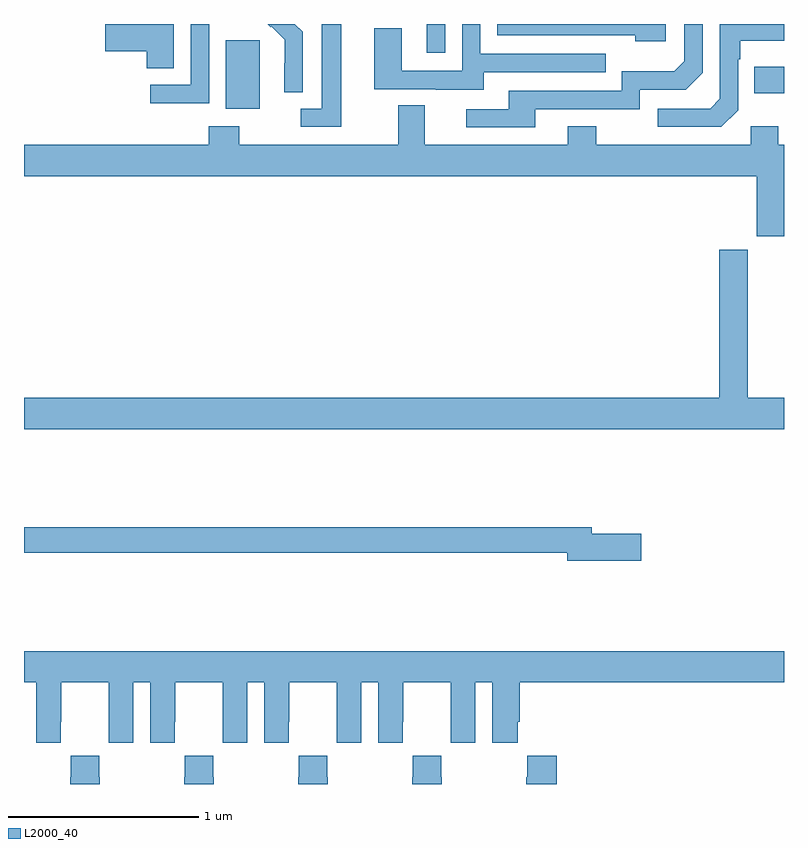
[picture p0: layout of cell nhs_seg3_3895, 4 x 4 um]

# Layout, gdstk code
import gdstk
lib = gdstk.Library(unit=1e-6, precision=1e-09)
def R(c, l, rs):  # rectangles x0, y0, x1, y1
    for r in rs: c.add(gdstk.rectangle(r[:2], r[2:], *l))
def P(c, l, *ps):  # polygons
    for p in ps: c.add(gdstk.Polygon(p, *l))
L2000_40 = (2000, 40)

nhs_seg3_3895 = lib.new_cell('nhs_seg3_3895')
R(nhs_seg3_3895, L2000_40, [(314.063,683.954,314.242,684.315), (316.843,684.035,317,684.175), (315.119,684.249,315.216,684.4)])
P(nhs_seg3_3895, L2000_40, [(313.974,684.4),(313.878,684.4),(313.878,684.081),(313.665,684.081),(313.665,683.983),(313.974,683.983)],
  [(315.421,684.147),(316.061,684.147),(316.061,684.243),(315.402,684.243),(315.402,684.4),(315.306,684.4),(315.306,684.153),(314.988,684.153),(314.988,684.377),(314.843,684.377),(314.843,684.057),(315.167,684.057),(315.167,684.053),(315.421,684.053)],
  [(314.671,684.4),(314.567,684.4),(314.567,683.955),(314.457,683.955),(314.457,683.859),(314.671,683.859)],
  [(315.691,683.952),(316.242,683.952),(316.242,684.054),(316.482,684.054),(316.572,684.144),(316.572,684.4),(316.476,684.4),(316.476,684.204),(316.423,684.151),(316.146,684.151),(316.146,684.048),(315.551,684.048),(315.551,683.952),(315.327,683.952),(315.327,683.856),(315.691,683.856)],
  [(313.789,684.4),(313.428,684.4),(313.428,684.257),(313.646,684.257),(313.646,684.166),(313.789,684.166)],
  [(316.758,683.946),(316.758,684.215),(316.771,684.215),(316.771,684.311),(317,684.311),(317,684.4),(316.662,684.4),(316.662,684.006),(316.611,683.955),(316.335,683.955),(316.335,683.859),(316.671,683.859)],
  [(314.466,684.358),(314.424,684.4),(314.282,684.4),(314.298,684.384),(314.301,684.387),(314.372,684.317),(314.372,684.194),(314.37,684.194),(314.37,684.04),(314.466,684.04)],
  [(316.378,684.4),(315.492,684.4),(315.492,684.342),(316.217,684.342),(316.217,684.308),(316.378,684.308)],
  [(317,683.764),(316.971,683.764),(316.971,683.863),(316.824,683.863),(316.824,683.764),(316.011,683.764),(316.011,683.863),(315.863,683.863),(315.863,683.764),(315.109,683.764),(315.109,683.972),(314.969,683.972),(314.969,683.764),(314.133,683.764),(314.133,683.863),(313.973,683.863),(313.973,683.764),(313,683.764),(313,683.6),(316.856,683.6),(316.856,683.283),(317,683.283)],
  [(317,682.432),(316.81,682.432),(316.81,683.211),(316.658,683.211),(316.658,682.432),(313,682.432),(313,682.268),(317,682.268)],
  [(316.249,681.716),(315.988,681.716),(315.988,681.752),(313,681.752),(313,681.616),(315.86,681.616),(315.86,681.574),(316.249,681.574)],
  [(313.194,680.728),(313.195,680.728),(313.195,680.936),(313.445,680.936),(313.445,680.728),(313.446,680.728),(313.446,680.616),(313.576,680.616),(313.576,680.936),(313.664,680.936),(313.664,680.616),(313.794,680.616),(313.794,680.728),(313.795,680.728),(313.795,680.936),(314.045,680.936),(314.045,680.728),(314.046,680.728),(314.046,680.616),(314.176,680.616),(314.176,680.936),(314.264,680.936),(314.264,680.616),(314.394,680.616),(314.394,680.728),(314.395,680.728),(314.395,680.936),(314.645,680.936),(314.645,680.728),(314.646,680.728),(314.646,680.616),(314.776,680.616),(314.776,680.936),(314.864,680.936),(314.864,680.616),(314.994,680.616),(314.994,680.728),(314.995,680.728),(314.995,680.936),(315.245,680.936),(315.245,680.728),(315.246,680.728),(315.246,680.616),(315.376,680.616),(315.376,680.936),(315.464,680.936),(315.464,680.616),(315.598,680.616),(315.598,680.728),(315.608,680.728),(315.608,680.936),(317,680.936),(317,681.1),(313,681.1),(313,680.936),(313.064,680.936),(313.064,680.616),(313.194,680.616)],
  [(315.803,680.548),(315.649,680.548),(315.649,680.435),(315.643,680.435),(315.643,680.4),(315.803,680.4)],
  [(315.198,680.435),(315.195,680.435),(315.195,680.548),(315.045,680.548),(315.045,680.435),(315.043,680.435),(315.043,680.4),(315.198,680.4)],
  [(313.998,680.435),(313.995,680.435),(313.995,680.548),(313.845,680.548),(313.845,680.435),(313.843,680.435),(313.843,680.4),(313.998,680.4)],
  [(313.398,680.435),(313.395,680.435),(313.395,680.548),(313.245,680.548),(313.245,680.435),(313.243,680.435),(313.243,680.4),(313.398,680.4)],
  [(314.598,680.435),(314.595,680.435),(314.595,680.548),(314.445,680.548),(314.445,680.435),(314.443,680.435),(314.443,680.4),(314.598,680.4)])

lib.write_gds('nhs_seg3_3895.gds')
